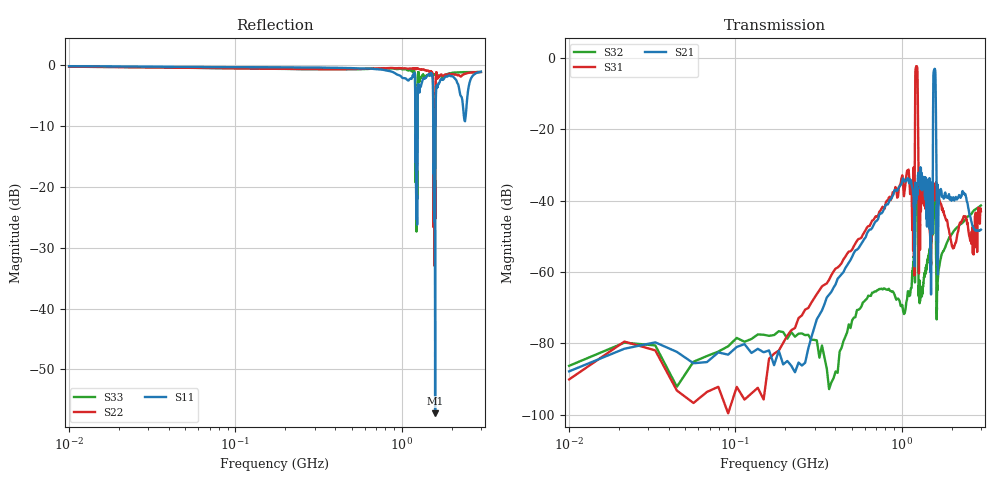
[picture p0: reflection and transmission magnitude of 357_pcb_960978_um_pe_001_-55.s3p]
! TDS: K:\Engsetup\Winsaw\890084DS_SEG
! Channel 1
! Ports=1 2 3
! seg 1=10.000000 1159.900000 101
! seg 2=1160.000000 1280.000000 650
! seg 3=1280.100000 1499.900000 100
! seg 4=1500.000000 1640.000000 650
! seg 5=1640.100000 3000.000000 100
! Points=1601
! FailCode=0
! Topology=ALL_SE(123)
# MHz S DB R 50
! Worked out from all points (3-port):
!   1601 points, 10 MHz to 3 GHz, reference 50 ohm
!   strongest paths, dB at 10 MHz, 1.215 GHz, 1.389 GHz, 1.575 GHz, 3 GHz:
!     S21: -87.8, -40.4, -33.4, -3.2, -48.1
!     S31: -90.1, -3.0, -41.4, -38.6, -42.9
!     S32: -86.3, -40.9, -60.2, -42.9, -41.4
!   lowest |S11| = -57.2 dB at 1.592 GHz (marker M1), VSWR 1.00, Z = 50.1 - j0.115 ohm
!   |S11| at or under -10 dB: 1.209 GHz to 1.246 GHz (36.92 MHz wide, 3.01 % of centre); 1.551 GHz to 1.601 GHz (50.6 MHz wide, 3.21 % of centre)
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10  -0.15 179.0  -90.33 12.9  -86.65 128.4
    -87.83 3.2  -0.23 177.3  -88.28 27.4
    -90.09 80.4  -86.28 5.8  -0.24 177.3
182.485  -0.33 169.3  -84.94 63.5  -81.87 -131.9
         -82.07 67.2  -0.57 140.5  -77.33 47.1
         -82.04 -116.8  -76.57 50.7  -0.60 140.0
860.926  -1.00 92.6  -39.57 138.9  -39.85 139.3
         -39.62 139.0  -0.43 15.9  -64.95 110.1
         -39.87 139.3  -65.31 110.7  -0.52 2.4
1194.946  -1.22 -155.3  -45.27 4.4  -59.71 148.9
          -45.29 4.2  -0.56 -33.5  -54.58 179.7
          -59.78 149.1  -54.54 179.5  -1.10 -134.0
1228.413  -24.31 146.7  -39.83 70.1  -2.33 -105.5
          -39.85 70.2  -0.59 -37.7  -42.05 -45.2
          -2.34 -105.5  -42.06 -45.3  -26.41 51.9
1271.864  -3.44 -39.0  -33.11 51.8  -60.29 -108.9
          -33.11 51.9  -0.62 -44.3  -66.58 103.5
          -60.36 -106.8  -66.55 101.9  -1.69 5.2
1503.02  -1.26 -176.6  -57.43 28.1  -57.43 58.1
         -57.42 28.1  -0.97 -100.2  -51.82 -179.3
         -57.38 57.7  -51.86 -179.6  -1.49 -57.3
1591.68  -57.21 -56.4  -3.40 83.3  -37.86 55.5
         -3.37 83.3  -20.07 -10.7  -40.08 134.9
         -37.88 55.4  -40.14 134.8  -1.56 -67.2
1633.744  -3.33 -95.2  -56.35 -2.5  -37.10 28.6
          -56.34 -2.1  -1.58 -18.8  -66.75 148.7
          -37.12 28.4  -66.21 148.2  -1.65 -70.8
3000  -1.06 -179.7  -48.15 119.5  -42.90 105.8
      -48.14 119.7  -1.10 -119.0  -41.30 139.7
      -42.94 105.6  -41.36 139.7  -1.11 -133.7
